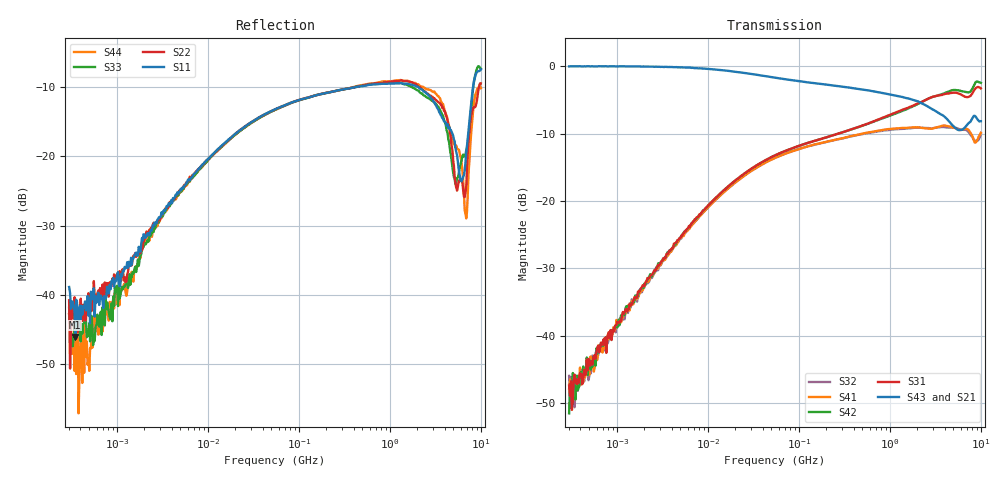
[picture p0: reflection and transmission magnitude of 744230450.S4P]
! This data is being provided by Wuerth Elektronik eiSos GmbH & Co. KG to the industry for analysis.
! Document information:
! Version:rev19a Date: 16/12/2019
! Component information:
! Match Code: WE-CNSW P/N: 744230450 Size: 0603
! Disclaimer:  While Würth Elektronik eiSos has made every reasonable effort to ensure the accuracy
! of the information provided, Würth Elektronik eiSos does not guarantee the exemption of error on the
! data collection measurements, nor does Würth Elektronik eiSos guarantee that the information is current.
! Würth Elektronik eiSos reserves the right to make any adjustments at any time without notice.
! Würth Elektronik eiSos expressly disclaims all implied warranties regarding this measurement data collection.
! Note 1  This data measurement is representative according to the product implementation into the fixture.
! Component behavior is sensitive to implementation into the fixture, which includes board
! materials, trace geometry information, connector pin out, layer connection, use of de-embedding
! techniques, etc.
! Note 2 - The fixture was designed specifically to match the 50 Ohm line impedance, as well as the connector impedance,
! in order to accomplish a reliable measurement without reflections in the trace. Any other implementation of the fixture will change the obtained
! measurement performance. The used fixture behavior was de-embedded to accomplish reliable measurement results.
! The test setup consisted of the following:
!  - Agilent VNA E5071C or E5071B
!  - Calibrations are SOLT (short open load thru)
!  - De-embedding of the SMA's or line cards were included
!  - Equipment Settings -
!  - Sampling - 501 points
!  - IF BW  70 kHz
!  - Averaging  Not used
!  Port 1----->|1|  |2| -----> Port 3
!  |  DUT  |
!  Port 2----->|3|  |4| -----> Port 4
!*VNA Port --> |Port in Datasheet|
! |Port in Datasheet| --> VNA Port
! For further information regarding this testing, please contact
! Wuerth Elektronik eiSos
! Contact: EDA team in QDC
! Email: libraries@we-online.com or libraries@we-online.de
# Hz S dB R 50
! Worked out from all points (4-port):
!   501 points, 300 kHz to 10 GHz, reference 50 ohm
!   strongest paths, dB at 300 kHz, 4.054 MHz, 54.77 MHz, 740.1 MHz, 10 GHz:
!     S43: 0.0, -0.1, -1.7, -3.8, -8.1
!     S21: -0.1, -0.2, -1.7, -3.8, -8.3
!     S31: -47.4, -27.0, -13.2, -7.9, -3.3
!     S42: -51.5, -27.0, -13.2, -8.0, -2.5
!     S41: -47.9, -27.2, -13.6, -9.6, -9.9
!     S32: -45.9, -27.3, -13.6, -9.7, -10.1
!   lowest |S11| = -46.2 dB at 351.3 kHz (marker M1), VSWR 1.01, Z = 50.4 + j0.305 ohm
!   |S11| at or under -10 dB: start of sweep to 407.4 MHz; 2.072 GHz to 8.192 GHz (6.12 GHz wide, 119 % of centre)
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300000  -38.91 37.2  -0.07 -0.4  -48.76 98.8  -46.54 -82.9
        -0.07 -0.2  -40.82 31.7  -45.01 -95.2  -48.05 93.9
        -47.39 85.7  -45.94 -102.3  -41.91 102.1  -0.01 -0.2
        -47.85 -79.9  -51.50 74.3  -0.01 -0.4  -42.81 74.9
351344  -46.16 38.0  -0.06 -0.2  -46.27 84.3  -45.58 -97.9
        -0.04 -0.3  -42.99 33.0  -47.53 -90.8  -47.47 105.4
        -46.33 83.0  -48.45 -94.6  -46.24 109.5  -0.03 -0.3
        -48.58 -84.5  -49.46 85.5  -0.00 -0.2  -45.57 72.9
2.87172e7  -15.22 39.6  -1.14 -7.9  -15.38 43.2  -15.70 -138.8
           -1.14 -7.9  -15.19 39.2  -15.71 -139.0  -15.40 43.2
           -15.39 43.2  -15.71 -138.9  -15.32 40.8  -1.10 -8.0
           -15.71 -139.0  -15.39 43.3  -1.09 -8.0  -15.35 40.7
1.864125e9  -9.73 -20.0  -5.13 -40.6  -5.75 11.2  -9.06 131.4
            -5.13 -40.7  -9.48 -22.6  -9.12 130.6  -5.83 13.7
            -5.76 11.2  -9.12 130.6  -10.15 -22.9  -5.05 -41.1
            -9.05 131.3  -5.85 13.8  -5.04 -41.1  -9.35 -24.0
3.689861e9  -14.14 -32.3  -7.05 -68.3  -4.26 -4.8  -8.86 86.8
            -7.04 -68.5  -12.52 -48.4  -8.98 84.1  -4.16 0.4
            -4.25 -4.8  -8.99 84.2  -13.67 -31.3  -7.17 -68.4
            -8.86 86.7  -4.15 0.5  -7.17 -68.4  -12.14 -43.9
6.906927e9  -19.52 14.3  -9.02 -97.5  -4.56 -27.9  -9.27 24.8
            -9.01 -98.0  -24.30 -0.5  -9.47 22.2  -3.83 -21.5
            -4.56 -27.8  -9.47 22.6  -19.18 30.1  -8.86 -99.0
            -9.26 24.6  -3.82 -21.3  -8.85 -99.3  -28.97 9.5
1e10  -7.41 7.3  -8.33 -162.3  -3.25 -54.0  -9.88 -4.3
      -8.29 -163.0  -9.42 13.0  -10.09 -1.1  -2.48 -44.2
      -3.29 -54.0  -10.09 -0.3  -7.27 9.5  -8.15 -167.2
      -9.85 -4.5  -2.46 -43.8  -8.14 -167.3  -10.12 9.0
